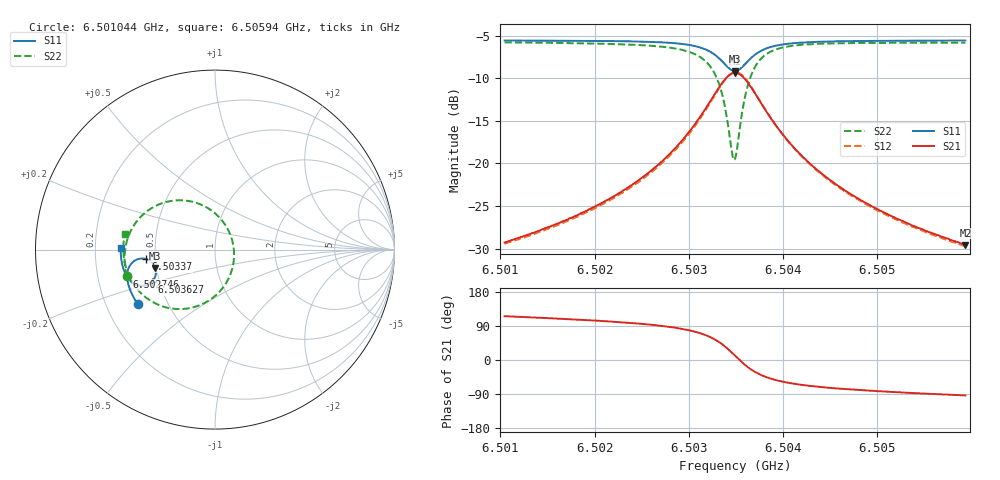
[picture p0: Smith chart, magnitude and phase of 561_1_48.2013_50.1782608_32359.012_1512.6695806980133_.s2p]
#  HZ  S  RI  R  50.00
! Rohde & Schwarz Vector Network Analyzer
! Rohde-Schwarz,ZNB20-2Port,1311601062101988,3.16
! Created: UTC 3/20/2024, 12:01:11 PM
! freq[Hz]  re:S11  im:S11  re:S21  im:S21  re:S12  im:S12  re:S22  im:S22
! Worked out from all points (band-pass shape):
!   401 points, 6.501044 GHz to 6.50594 GHz, reference 50 ohm
!   highest |S21| = -9.37 dB at 6.503492 GHz (marker M1); lowest = -29.6 dB at 6.50594 GHz (marker M2)
!   |S21| within 3 dB of the highest: 6.503248 GHz to 6.503738 GHz (490.1 kHz wide, 0.00754 % of centre)
!   lowest |S11| = -9.2 dB at 6.503492 GHz (marker M3), VSWR 2.07, Z = 24.6 - j5.77 ohm
!   |S11| at or under -10 dB: nowhere
!   |S22| runs from -19.6 to -5.8 dB; largest |S21 - S12| = 0.012
!   S11 on the Smith chart (normalised r, x): 6.501044 GHz: 0.34, -0.28; 6.502746 GHz: 0.33, -0.14; 6.50337 GHz: 0.44, -0.05; 6.503627 GHz: 0.45, -0.19; 6.50594 GHz: 0.31, +0.01
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6.5010444e9  -0.4305 -0.3039  -0.0148 0.031  -0.0131 0.0311  -0.4919 -0.1472
6.5018645e9  -0.4652 -0.2424  -0.0141 0.0492  -0.0118 0.0488  -0.5036 -0.0585
6.5023296e9  -0.4811 -0.2003  -0.0107 0.0698  -0.00772 0.0688  -0.4993 0.00937
6.5026846e9  -0.489 -0.1601  -0.00154 0.0993  0.0021 0.097  -0.479 0.0829
6.5027458e9  -0.4895 -0.1519  0.00171 0.1064  0.0055 0.104  -0.4721 0.099
6.5029661e9  -0.4859 -0.1166  0.0239 0.142  0.0276 0.1378  -0.4258 0.1698
6.5031252e9  -0.4712 -0.0845  0.0632 0.1781  0.0661 0.1724  -0.3491 0.2334
6.5032721e9  -0.4333 -0.0547  0.1452 0.2071  0.1459 0.2008  -0.2003 0.275
6.50337e9  -0.3866 -0.0518  0.2369 0.1909  0.237 0.1862  -0.0416 0.2324
6.5034557e9  -0.3434 -0.081  0.3156 0.1161  0.3183 0.1122  0.0843 0.0856
6.5034802e9  -0.3352 -0.0952  0.3291 0.0844  0.3326 0.0795  0.1017 0.0254
6.5034924e9  -0.3324 -0.103  0.3335 0.0673  0.3375 0.062  0.1058 -0.00612
6.5035169e9  -0.3293 -0.1194  0.3371 0.0325  0.3412 0.0259  0.1036 -0.0699
6.5035536e9  -0.3314 -0.1436  0.33 -0.0181  0.3337 -0.0268  0.0766 -0.1593
6.5036271e9  -0.3537 -0.181  0.2832 -0.0951  0.2836 -0.1065  -0.0336 -0.2836
6.5037372e9  -0.3995 -0.2015  0.1958 -0.1409  0.1906 -0.1508  -0.2107 -0.3309
6.5038963e9  -0.4471 -0.1922  0.1114 -0.137  0.1043 -0.1425  -0.3629 -0.2825
6.5040677e9  -0.4751 -0.1706  0.0655 -0.1159  0.0593 -0.1184  -0.4368 -0.2157
6.5043125e9  -0.4962 -0.1408  0.0348 -0.0908  0.0298 -0.0912  -0.4814 -0.1419
6.5047042e9  -0.5126 -0.0994  0.0146 -0.0653  0.0112 -0.065  -0.5048 -0.0622
6.5051326e9  -0.5214 -0.0594  0.00526 -0.0495  0.003 -0.0488  -0.5107 -0.000546
6.5059405e9  -0.5264 0.00955  -0.00211 -0.0332  -0.00329 -0.0325  -0.5033 0.0866
